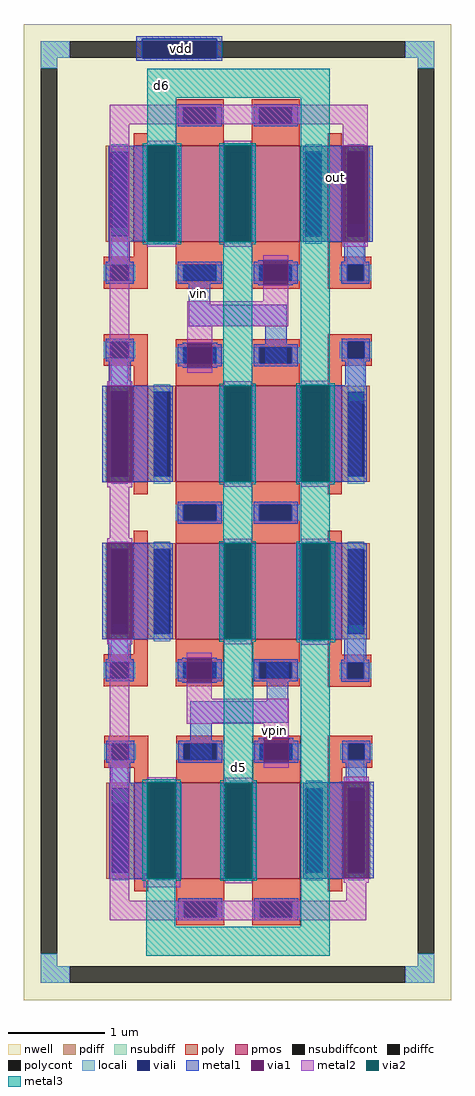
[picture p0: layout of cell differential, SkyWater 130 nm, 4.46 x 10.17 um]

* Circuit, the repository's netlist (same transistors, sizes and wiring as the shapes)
* NGSPICE file created from differential.ext - technology: sky130A

.subckt sky130_fd_pr__pfet_01v8_BHVYY6 w_n223_n200# a_n29_n100# a_n187_n100# a_29_n197#
+ a_n129_n197# a_129_n100#
X0 a_129_n100# a_29_n197# a_n29_n100# w_n223_n200# sky130_fd_pr__pfet_01v8 ad=0.29 pd=2.58 as=0.145 ps=1.29 w=1 l=0.5
X1 a_n29_n100# a_n129_n197# a_n187_n100# w_n223_n200# sky130_fd_pr__pfet_01v8 ad=0.145 pd=1.29 as=0.29 ps=2.58 w=1 l=0.5
.ends

.subckt sky130_fd_pr__pfet_01v8_2XUZHN a_n73_n100# w_n109_n162# a_15_n100# a_n15_n126#
X0 a_15_n100# a_n15_n126# a_n73_n100# w_n109_n162# sky130_fd_pr__pfet_01v8 ad=0.29 pd=2.58 as=0.29 ps=2.58 w=1 l=0.15
.ends

.subckt differential vdd d6 vin out vpin d5
Xsky130_fd_pr__pfet_01v8_BHVYY6_2 vdd d5 out vin vpin d6 sky130_fd_pr__pfet_01v8_BHVYY6
Xsky130_fd_pr__pfet_01v8_BHVYY6_3 vdd d5 d6 vpin vin out sky130_fd_pr__pfet_01v8_BHVYY6
Xsky130_fd_pr__pfet_01v8_2XUZHN_0 d6 vdd d6 d6 sky130_fd_pr__pfet_01v8_2XUZHN
Xsky130_fd_pr__pfet_01v8_2XUZHN_1 out vdd out out sky130_fd_pr__pfet_01v8_2XUZHN
Xsky130_fd_pr__pfet_01v8_2XUZHN_2 d6 vdd d6 d6 sky130_fd_pr__pfet_01v8_2XUZHN
Xsky130_fd_pr__pfet_01v8_2XUZHN_3 out vdd out out sky130_fd_pr__pfet_01v8_2XUZHN
Xsky130_fd_pr__pfet_01v8_2XUZHN_4 d6 vdd d6 d6 sky130_fd_pr__pfet_01v8_2XUZHN
Xsky130_fd_pr__pfet_01v8_2XUZHN_5 out vdd out out sky130_fd_pr__pfet_01v8_2XUZHN
Xsky130_fd_pr__pfet_01v8_2XUZHN_6 d6 vdd d6 d6 sky130_fd_pr__pfet_01v8_2XUZHN
Xsky130_fd_pr__pfet_01v8_2XUZHN_7 out vdd out out sky130_fd_pr__pfet_01v8_2XUZHN
Xsky130_fd_pr__pfet_01v8_BHVYY6_0 vdd d5 d6 vpin vin out sky130_fd_pr__pfet_01v8_BHVYY6
Xsky130_fd_pr__pfet_01v8_BHVYY6_1 vdd d5 out vin vpin d6 sky130_fd_pr__pfet_01v8_BHVYY6
.ends

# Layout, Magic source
magic
tech sky130A
magscale 1 2
<< nwell >>
rect -223 -1479 668 554
<< nsubdiff >>
rect -187 484 -127 518
rect 572 484 632 518
rect -187 462 -153 484
rect 598 462 632 484
rect -187 -1409 -153 -1383
rect 598 -1409 632 -1383
rect -187 -1443 -127 -1409
rect 572 -1443 632 -1409
<< nsubdiffcont >>
rect -127 484 572 518
rect -187 -1383 -153 462
rect 598 -1383 632 462
rect -127 -1443 572 -1409
<< poly >>
rect 6 69 36 75
rect -56 53 36 69
rect -56 19 -40 53
rect -6 19 36 53
rect -56 3 36 19
rect 410 69 440 88
rect 410 53 501 69
rect 410 19 451 53
rect 485 19 501 53
rect 410 3 501 19
rect -56 -108 36 -92
rect -56 -142 -40 -108
rect -6 -142 36 -108
rect -56 -158 36 -142
rect 6 -175 36 -158
rect 410 -108 502 -92
rect 410 -142 452 -108
rect 486 -142 502 -108
rect 410 -158 502 -142
rect 410 -175 440 -158
rect 6 -759 36 -746
rect 415 -753 440 -752
rect -56 -775 36 -759
rect -56 -809 -40 -775
rect -6 -809 36 -775
rect -56 -825 36 -809
rect 410 -760 440 -753
rect 410 -776 501 -760
rect 410 -810 451 -776
rect 485 -810 501 -776
rect 410 -826 501 -810
rect -55 -945 37 -929
rect -55 -979 -39 -945
rect -5 -979 37 -945
rect -55 -995 37 -979
rect 7 -1000 37 -995
rect 411 -945 503 -929
rect 411 -979 453 -945
rect 487 -979 503 -945
rect 411 -995 503 -979
rect 411 -1000 441 -995
<< polycont >>
rect -40 19 -6 53
rect 451 19 485 53
rect -40 -142 -6 -108
rect 452 -142 486 -108
rect -40 -809 -6 -775
rect 451 -810 485 -776
rect -39 -979 -5 -945
rect 453 -979 487 -945
<< locali >>
rect -187 484 -127 518
rect 572 484 632 518
rect -187 462 -153 484
rect 598 462 632 484
rect -40 53 -6 129
rect 451 53 485 136
rect -56 19 -40 53
rect -6 19 10 53
rect 435 19 451 53
rect 485 19 501 53
rect 452 -108 486 -107
rect -56 -142 -40 -108
rect -6 -142 10 -108
rect 436 -142 452 -108
rect 486 -142 502 -108
rect -40 -229 -6 -142
rect 452 -231 486 -142
rect -40 -775 -6 -697
rect -56 -809 -40 -775
rect -6 -809 10 -775
rect 451 -776 486 -699
rect -40 -810 -6 -809
rect 435 -810 451 -776
rect 485 -810 501 -776
rect -55 -979 -39 -945
rect -5 -979 11 -945
rect 437 -979 453 -945
rect 487 -979 503 -945
rect -39 -1067 -5 -979
rect 453 -1063 487 -979
rect -187 -1409 -153 -1383
rect 598 -1409 632 -1383
rect -187 -1443 -127 -1409
rect 572 -1443 632 -1409
<< viali >>
rect 24 518 179 523
rect 24 484 179 518
rect 24 483 179 484
rect -40 19 -6 53
rect 451 19 485 53
rect -40 -142 -6 -108
rect 452 -142 486 -108
rect -40 -809 -6 -775
rect 451 -810 485 -776
rect -39 -979 -5 -945
rect 453 -979 487 -945
<< metal1 >>
rect 12 523 191 529
rect 12 483 24 523
rect 179 483 191 523
rect 12 477 191 483
rect -37 129 39 300
rect -46 101 39 129
rect 91 101 101 300
rect -46 59 -2 101
rect 185 100 195 301
rect 251 100 261 301
rect 368 100 442 300
rect 494 100 504 300
rect -52 53 6 59
rect 121 53 166 59
rect -52 19 -40 53
rect -6 19 6 53
rect 110 19 178 53
rect -52 13 6 19
rect 121 -31 166 19
rect 266 10 276 62
rect 328 10 338 62
rect 445 59 489 100
rect 439 53 497 59
rect 439 19 451 53
rect 485 19 497 53
rect 439 13 497 19
rect 121 -76 325 -31
rect -52 -108 6 -102
rect -52 -142 -40 -108
rect -6 -142 6 -108
rect -52 -148 6 -142
rect -46 -200 0 -148
rect 108 -162 118 -110
rect 170 -162 180 -110
rect 280 -159 325 -76
rect 440 -108 498 -102
rect 440 -142 452 -108
rect 486 -142 498 -108
rect 440 -148 498 -142
rect 447 -199 490 -148
rect -59 -401 -49 -200
rect 3 -400 75 -200
rect 185 -400 195 -200
rect 251 -400 261 -200
rect 346 -400 356 -199
rect 408 -237 490 -199
rect 408 -400 481 -237
rect 3 -401 13 -400
rect -59 -728 -49 -527
rect 3 -728 79 -527
rect 367 -528 482 -527
rect 185 -728 195 -528
rect 251 -728 261 -528
rect 345 -728 355 -528
rect 407 -699 482 -528
rect 407 -728 491 -699
rect -47 -769 0 -728
rect -52 -775 6 -769
rect -52 -809 -40 -775
rect -6 -809 6 -775
rect -52 -815 6 -809
rect 107 -818 117 -766
rect 169 -818 179 -766
rect 283 -857 328 -769
rect 445 -770 491 -728
rect 439 -776 497 -770
rect 439 -810 451 -776
rect 485 -810 497 -776
rect 439 -816 497 -810
rect 124 -902 328 -857
rect -51 -945 7 -939
rect -51 -979 -39 -945
rect -5 -979 7 -945
rect -51 -985 7 -979
rect 124 -985 169 -902
rect 267 -985 277 -933
rect 329 -985 339 -933
rect 441 -945 499 -939
rect 441 -979 453 -945
rect 487 -979 499 -945
rect 441 -985 499 -979
rect -43 -1026 -1 -985
rect 448 -1024 492 -985
rect 434 -1025 444 -1024
rect -43 -1068 35 -1026
rect -36 -1226 35 -1068
rect 95 -1226 105 -1026
rect 187 -1226 197 -1026
rect 252 -1226 262 -1026
rect 371 -1225 444 -1025
rect 496 -1225 506 -1024
rect 371 -1226 486 -1225
rect -36 -1227 79 -1226
<< via1 >>
rect 39 101 91 300
rect 195 100 251 301
rect 442 100 494 300
rect 276 10 328 62
rect 118 -162 170 -110
rect -49 -401 3 -200
rect 195 -400 251 -200
rect 356 -400 408 -199
rect -49 -728 3 -527
rect 195 -728 251 -528
rect 355 -728 407 -528
rect 117 -818 169 -766
rect 277 -985 329 -933
rect 35 -1226 95 -1026
rect 197 -1226 252 -1026
rect 444 -1225 496 -1024
<< metal2 >>
rect -44 345 494 386
rect -44 -190 -3 345
rect 35 301 95 311
rect 35 90 95 100
rect 195 301 251 311
rect 195 90 251 100
rect 442 300 494 345
rect 442 90 494 100
rect 276 62 328 72
rect 276 -24 328 10
rect 118 -76 328 -24
rect 118 -110 170 -76
rect 118 -172 170 -162
rect -49 -200 3 -190
rect -49 -411 3 -401
rect 195 -200 251 -190
rect 195 -410 251 -400
rect 355 -199 415 -189
rect 355 -410 415 -400
rect -44 -517 -3 -411
rect -49 -527 3 -517
rect -49 -738 3 -728
rect 195 -528 251 -518
rect 356 -519 416 -518
rect 195 -738 251 -728
rect 355 -528 416 -519
rect 355 -729 356 -728
rect 355 -737 416 -729
rect -44 -929 -3 -738
rect 356 -739 416 -737
rect 117 -766 169 -756
rect 117 -852 169 -818
rect 117 -904 329 -852
rect -46 -938 -3 -929
rect 277 -933 329 -904
rect -46 -995 -5 -938
rect 277 -995 329 -985
rect -44 -1004 -5 -995
rect -44 -1272 -3 -1004
rect 34 -1017 94 -1015
rect 34 -1025 95 -1017
rect 94 -1026 95 -1025
rect 27 -1226 34 -1216
rect 197 -1026 253 -1016
rect 95 -1226 103 -1216
rect 27 -1244 103 -1226
rect 197 -1236 253 -1226
rect 444 -1024 496 -1014
rect 444 -1235 496 -1225
rect 449 -1272 491 -1235
rect -44 -1313 491 -1272
<< via2 >>
rect 35 300 95 301
rect 35 101 39 300
rect 39 101 91 300
rect 91 101 95 300
rect 35 100 95 101
rect 195 100 251 301
rect 195 -400 251 -200
rect 355 -400 356 -199
rect 356 -400 408 -199
rect 408 -400 415 -199
rect 195 -728 251 -528
rect 356 -728 407 -528
rect 407 -728 416 -528
rect 356 -729 416 -728
rect 34 -1026 94 -1025
rect 34 -1226 35 -1026
rect 35 -1226 94 -1026
rect 197 -1226 252 -1026
rect 252 -1226 253 -1026
<< metal3 >>
rect 34 400 415 461
rect 34 306 95 400
rect 25 301 105 306
rect 25 100 35 301
rect 95 100 105 301
rect 25 95 105 100
rect 185 301 261 306
rect 185 100 195 301
rect 251 100 261 301
rect 185 95 261 100
rect 193 -195 253 95
rect 354 -194 415 400
rect 185 -200 261 -195
rect 185 -400 195 -200
rect 251 -400 261 -200
rect 185 -405 261 -400
rect 345 -199 425 -194
rect 345 -400 355 -199
rect 415 -400 425 -199
rect 345 -405 425 -400
rect 193 -523 253 -405
rect 354 -523 415 -405
rect 185 -528 261 -523
rect 185 -728 195 -528
rect 251 -728 261 -528
rect 185 -733 261 -728
rect 346 -528 426 -523
rect 346 -729 356 -528
rect 416 -729 426 -528
rect 32 -1020 93 -1019
rect 24 -1025 104 -1020
rect 194 -1021 255 -733
rect 346 -734 426 -729
rect 24 -1226 34 -1025
rect 94 -1226 104 -1025
rect 24 -1231 104 -1226
rect 187 -1026 263 -1021
rect 187 -1226 197 -1026
rect 253 -1226 263 -1026
rect 187 -1231 263 -1226
rect 32 -1326 93 -1231
rect 354 -1326 415 -734
rect 32 -1387 415 -1326
use sky130_fd_pr__pfet_01v8_2XUZHN  sky130_fd_pr__pfet_01v8_2XUZHN_0
transform 1 0 22 0 1 -1126
box -109 -162 109 162
use sky130_fd_pr__pfet_01v8_2XUZHN  sky130_fd_pr__pfet_01v8_2XUZHN_1
transform 1 0 425 0 1 200
box -109 -162 109 162
use sky130_fd_pr__pfet_01v8_2XUZHN  sky130_fd_pr__pfet_01v8_2XUZHN_2
transform 1 0 21 0 1 200
box -109 -162 109 162
use sky130_fd_pr__pfet_01v8_2XUZHN  sky130_fd_pr__pfet_01v8_2XUZHN_3
transform 1 0 21 0 1 -300
box -109 -162 109 162
use sky130_fd_pr__pfet_01v8_2XUZHN  sky130_fd_pr__pfet_01v8_2XUZHN_4
transform 1 0 425 0 1 -300
box -109 -162 109 162
use sky130_fd_pr__pfet_01v8_2XUZHN  sky130_fd_pr__pfet_01v8_2XUZHN_5
transform 1 0 21 0 1 -628
box -109 -162 109 162
use sky130_fd_pr__pfet_01v8_2XUZHN  sky130_fd_pr__pfet_01v8_2XUZHN_6
transform 1 0 425 0 1 -628
box -109 -162 109 162
use sky130_fd_pr__pfet_01v8_2XUZHN  sky130_fd_pr__pfet_01v8_2XUZHN_7
transform 1 0 426 0 1 -1126
box -109 -162 109 162
use sky130_fd_pr__pfet_01v8_BHVYY6  sky130_fd_pr__pfet_01v8_BHVYY6_0
transform 1 0 223 0 1 200
box -223 -200 223 200
use sky130_fd_pr__pfet_01v8_BHVYY6  sky130_fd_pr__pfet_01v8_BHVYY6_1
transform 1 0 223 0 1 -300
box -223 -200 223 200
use sky130_fd_pr__pfet_01v8_BHVYY6  sky130_fd_pr__pfet_01v8_BHVYY6_2
transform 1 0 223 0 1 -628
box -223 -200 223 200
use sky130_fd_pr__pfet_01v8_BHVYY6  sky130_fd_pr__pfet_01v8_BHVYY6_3
transform 1 0 224 0 1 -1126
box -223 -200 223 200
<< labels >>
flabel viali 105 502 105 502 0 FreeSans 320 0 0 0 vdd
port 0 nsew
flabel metal3 65 425 65 425 0 FreeSans 320 0 0 0 d6
port 1 nsew
flabel metal1 142 -7 142 -7 0 FreeSans 320 0 0 0 vin
port 4 nsew
flabel metal1 426 234 426 234 0 FreeSans 320 0 0 0 out
port 8 nsew
flabel metal2 299 -917 299 -917 0 FreeSans 320 0 0 0 vpin
port 9 nsew
flabel metal3 224 -994 224 -994 0 FreeSans 320 0 0 0 d5
port 10 nsew
<< end >>

# cell sky130_fd_pr__pfet_01v8_2XUZHN: kit device sky130_fd_pr__pfet_01v8, w 1 l 0.15 m 1 nf 1 diffcov 100 polycov 100 guard 0 glc 1 grc 1 gtc 1 gbc 1 tbcov 100 rlcov 100 topc 0 botc 0 poverlap 0 doverlap 1 lmin 0.15 wmin 0.42 compatible {sky130_fd_pr__pfet_01v8 sky130_fd_pr__pfet_01v8_lvt sky130_fd_pr__pfet_01v8_hvt sky130_fd_pr__pfet_g5v0d10v5} full_metal 1 viasrc 100 viadrn 100 viagate 100 viagb 0 viagr 0 viagl 0 viagt 0

# cell sky130_fd_pr__pfet_01v8_BHVYY6: kit device sky130_fd_pr__pfet_01v8, w 1 l 0.5 m 1 nf 2 diffcov 100 polycov 100 guard 0 glc 1 grc 1 gtc 1 gbc 1 tbcov 100 rlcov 100 topc 1 botc 1 poverlap 0 doverlap 1 lmin 0.15 wmin 0.42 compatible {sky130_fd_pr__pfet_01v8 sky130_fd_pr__pfet_01v8_lvt sky130_fd_pr__pfet_01v8_hvt sky130_fd_pr__pfet_g5v0d10v5} full_metal 1 viasrc 100 viadrn 100 viagate 100 viagb 0 viagr 0 viagl 0 viagt 0
